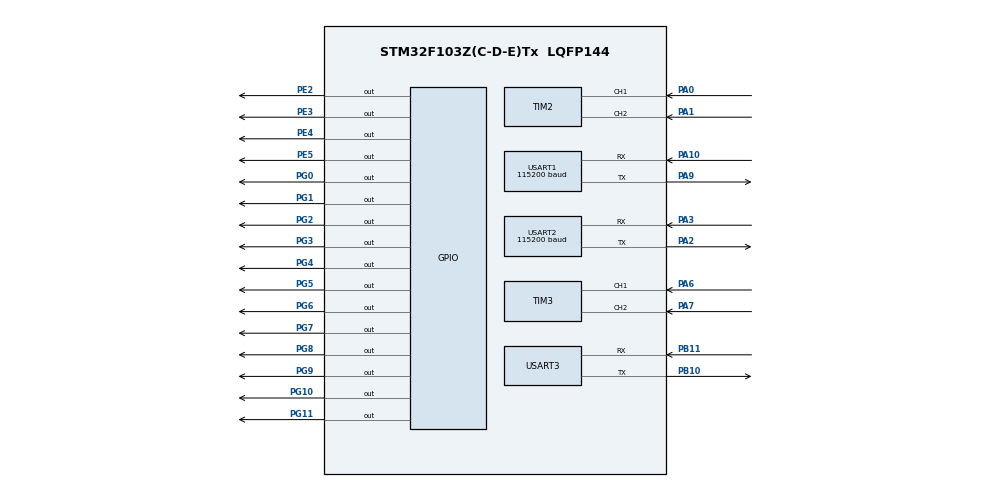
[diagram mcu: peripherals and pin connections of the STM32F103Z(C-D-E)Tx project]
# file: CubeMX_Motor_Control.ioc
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Mcu.Family=STM32F1
Mcu.Name=STM32F103Z(C-D-E)Tx
Mcu.Package=LQFP144
NVIC.PriorityGroup=NVIC_PRIORITYGROUP_4
NVIC.TIM2_IRQn=true\:1\:0\:true\:false\:true\:true\:true
NVIC.TIM3_IRQn=true\:1\:0\:true\:false\:true\:true\:true
NVIC.TIM4_IRQn=true\:2\:0\:true\:false\:true\:true\:true
NVIC.TIM5_IRQn=true\:2\:0\:true\:false\:true\:true\:true
NVIC.USART1_IRQn=true\:0\:0\:true\:false\:true\:true\:true
NVIC.USART2_IRQn=true\:0\:0\:false\:false\:true\:true\:true
NVIC.USART3_IRQn=true\:0\:0\:false\:false\:true\:true\:true
PA0-WKUP.Signal=S_TIM2_CH1_ETR
PA1.Signal=S_TIM2_CH2
PA10.Mode=Asynchronous
PA10.Signal=USART1_RX
PA2.Mode=Asynchronous
PA2.Signal=USART2_TX
PA3.Mode=Asynchronous
PA3.Signal=USART2_RX
PA6.Signal=S_TIM3_CH1
PA7.Signal=S_TIM3_CH2
PA9.Mode=Asynchronous
PA9.Signal=USART1_TX
PB10.Mode=Asynchronous
PB10.Signal=USART3_TX
PB11.Mode=Asynchronous
PB11.Signal=USART3_RX
PE2.Signal=GPIO_Output
PE3.Signal=GPIO_Output
PE4.Signal=GPIO_Output
PE5.Signal=GPIO_Output
PG0.Signal=GPIO_Output
PG1.Signal=GPIO_Output
PG10.Signal=GPIO_Output
PG11.Signal=GPIO_Output
PG2.Signal=GPIO_Output
PG3.Signal=GPIO_Output
PG4.Signal=GPIO_Output
PG5.Signal=GPIO_Output
PG6.Signal=GPIO_Output
PG7.Signal=GPIO_Output
PG8.Signal=GPIO_Output
PG9.Signal=GPIO_Output
ProjectManager.HeapSize=0x200
ProjectManager.StackSize=0x400
ProjectManager.TargetToolchain=MDK-ARM V5.27
RCC.APB1Freq_Value=8000000
RCC.APB2Freq_Value=8000000
SH.S_TIM2_CH1_ETR.0=TIM2_CH1,Encoder_Interface
SH.S_TIM2_CH2.0=TIM2_CH2,Encoder_Interface
SH.S_TIM3_CH1.0=TIM3_CH1,Encoder_Interface
SH.S_TIM3_CH2.0=TIM3_CH2,Encoder_Interface
TIM4.AutoReloadPreload=TIM_AUTORELOAD_PRELOAD_ENABLE
TIM4.Period=999
TIM4.Prescaler=399
TIM5.Period=999
TIM5.Prescaler=399
USART1.BaudRate=115200
USART1.Parity=PARITY_EVEN
USART1.VirtualMode=VM_ASYNC
USART1.WordLength=WORDLENGTH_9B
USART2.BaudRate=115200
USART2.Parity=PARITY_EVEN
USART2.VirtualMode=VM_ASYNC
USART2.WordLength=WORDLENGTH_9B
USART3.Parity=PARITY_EVEN
USART3.VirtualMode=VM_ASYNC
USART3.WordLength=WORDLENGTH_9B
VP_SYS_VS_ND.Mode=No_Debug
VP_TIM4_VS_ClockSourceINT.Mode=Internal
VP_TIM5_VS_ClockSourceINT.Mode=Internal
board=custom

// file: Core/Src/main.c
/* USER CODE BEGIN Header */
/**
  ******************************************************************************
  * @file           : main.c
  * @brief          : Main program body
  ******************************************************************************
  * @attention
  *
  * <h2><center>&copy; Copyright (c) 2021 STMicroelectronics.
  * All rights reserved.</center></h2>
  *
  * This software component is licensed by ST under BSD 3-Clause license,
  * the "License"; You may not use this file except in compliance with the
  * License. You may obtain a copy of the License at:
  *                        opensource.org/licenses/BSD-3-Clause
  *
  ******************************************************************************
  */
/* USER CODE END Header */
#include "main.h"
#include "tim.h"
#include "usart.h"
#include "gpio.h"

/* USER CODE BEGIN Includes */
#include "motor_control.h"
#include "pneumatic_control.h"
/* USER CODE END Includes */

/* USER CODE BEGIN PV */
int current_buffer_length = 0;
uint8_t single_buffer = 0xFF;
uint8_t read_buffer[BUFFER_LENGTH + 1];

pid_parameter motor_pid[2];
valve_parameter valve[VALVE_LENGTH];
/* USER CODE END PV */

void SystemClock_Config(void);

int main(void)
{

  /* MCU Configuration--------------------------------------------------------*/

  /* Reset of all peripherals, Initializes the Flash interface and the Systick. */
  HAL_Init();

  /* Configure the system clock */
  SystemClock_Config();

  /* Initialize all configured peripherals */
  MX_GPIO_Init();
  MX_USART1_UART_Init();
  MX_USART2_UART_Init();
  MX_TIM2_Init();
  MX_TIM3_Init();
  MX_TIM4_Init();
  MX_TIM5_Init();
  MX_USART3_UART_Init();
  /* USER CODE BEGIN 2 */

  //根据单片机的编号来初始化电机和气动元件
  #if MCU_ID == 0x01
    pid_parameter_init(&motor_pid[0], 0x01, &htim2);
    pid_parameter_init(&motor_pid[1], 0x02, &htim3);
    valve_init(&valve[0], 0x01, GPIO_PIN_0);
    valve_init(&valve[1], 0x02, GPIO_PIN_1);
  #elif MCU_ID == 0x02
    pid_parameter_init(&motor_pid[0], 0x03, &htim2);
    pid_parameter_init(&motor_pid[1], 0x04, &htim3);
    valve_init(&valve[0], 0x03, GPIO_PIN_2);
    valve_init(&valve[1], 0x04, GPIO_PIN_3);
  #elif MCU_ID == 0x03
    pid_parameter_init(&motor_pid[0], 0x05, &htim2);
    pid_parameter_init(&motor_pid[1], 0x06, &htim3);
    valve_init(&valve[0], 0x05, GPIO_PIN_0);
    valve_init(&valve[1], 0x06, GPIO_PIN_4);
  #elif MCU_ID == 0x04
    pid_parameter_init(&motor_pid[0], 0x07, &htim2);
    pid_parameter_init(&motor_pid[1], 0x08, &htim3);
    valve_init(&valve[0], 0x07, GPIO_PIN_0);
    valve_init(&valve[1], 0x08, GPIO_PIN_4);
  #elif MCU_ID == 0x05
    pid_parameter_init(&motor_pid[0], 0x09, &htim2);
    pid_parameter_init(&motor_pid[1], 0x0a, &htim3);
    // 控制真空发生气抽气(灰色的线)
    valve_init(&valve[0], 0x09, GPIO_PIN_0);
    valve_init(&valve[1], 0x0a, GPIO_PIN_2);
    // 控制真空发生器吹气(白色的线)
    valve_init(&valve[2], 0x0b, GPIO_PIN_1);
    valve_init(&valve[3], 0x0c, GPIO_PIN_3);
  #endif

  HAL_UART_Receive_IT(&huart1, &single_buffer, 1);// 串口接收数据
  __HAL_UART_ENABLE_IT(&huart1, UART_IT_IDLE);    // 开启串口空闲中断

//  HAL_TIM_Base_Start_IT(&htim4); // 启动电机PID控制定时器
//  HAL_TIM_Base_Start_IT(&htim5); // 启动电机PID控制定时器
  HAL_TIM_Encoder_Start(&htim2, TIM_CHANNEL_ALL); // 启动编码器读数
  HAL_TIM_Encoder_Start(&htim3, TIM_CHANNEL_ALL); // 启动编码器读数

  /* USER CODE END 2 */

  /* Infinite loop */
  /* USER CODE BEGIN WHILE */
  uint32_t count = 0;
  while (1)
  {
    /* USER CODE END WHILE */

    /* USER CODE BEGIN 3 */
    int16_t pwm_value1 = pid_calculate(&motor_pid[0], 0.02f);
    motor_drive_instruct(motor_pid[0].motor_id, pwm_value1);

    HAL_Delay(2);

    int16_t pwm_value2 = pid_calculate(&motor_pid[1], 0.02f);
    motor_drive_instruct(motor_pid[1].motor_id, pwm_value2);

    HAL_Delay(2);

    if (count == 20)
    {
        HAL_GPIO_TogglePin(GPIOE, GPIO_PIN_2);
        count = 0;
    }
  }
  /* USER CODE END 3 */
}

void SystemClock_Config(void)
{
  RCC_OscInitTypeDef RCC_OscInitStruct = {0};
  RCC_ClkInitTypeDef RCC_ClkInitStruct = {0};

  /** Initializes the RCC Oscillators according to the specified parameters
  * in the RCC_OscInitTypeDef structure.
  */
  RCC_OscInitStruct.OscillatorType = RCC_OSCILLATORTYPE_HSI;
  RCC_OscInitStruct.HSIState = RCC_HSI_ON;
  RCC_OscInitStruct.HSICalibrationValue = RCC_HSICALIBRATION_DEFAULT;
  RCC_OscInitStruct.PLL.PLLState = RCC_PLL_NONE;
  if (HAL_RCC_OscConfig(&RCC_OscInitStruct) != HAL_OK)
  {
    Error_Handler();
  }
  /** Initializes the CPU, AHB and APB buses clocks
  */
  RCC_ClkInitStruct.ClockType = RCC_CLOCKTYPE_HCLK|RCC_CLOCKTYPE_SYSCLK
                              |RCC_CLOCKTYPE_PCLK1|RCC_CLOCKTYPE_PCLK2;
  RCC_ClkInitStruct.SYSCLKSource = RCC_SYSCLKSOURCE_HSI;
  RCC_ClkInitStruct.AHBCLKDivider = RCC_SYSCLK_DIV1;
  RCC_ClkInitStruct.APB1CLKDivider = RCC_HCLK_DIV1;
  RCC_ClkInitStruct.APB2CLKDivider = RCC_HCLK_DIV1;

  if (HAL_RCC_ClockConfig(&RCC_ClkInitStruct, FLASH_LATENCY_0) != HAL_OK)
  {
    Error_Handler();
  }
}

void Error_Handler(void)
{
  __disable_irq();
  while (1)
  {
  }
}

/************************ (C) COPYRIGHT STMicroelectronics *****END OF FILE****/
